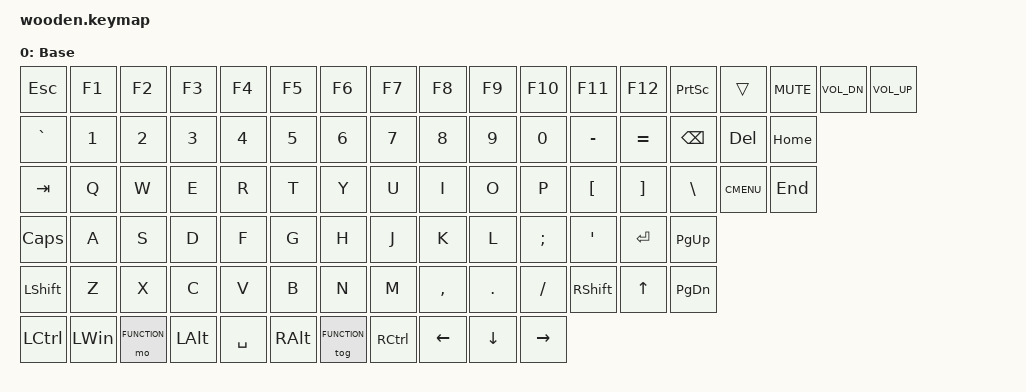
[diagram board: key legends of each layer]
#include <behaviors.dtsi>
#include <dt-bindings/zmk/keys.h>

#define DEFAULT 0
#define FUNCTION 1
#define VOLUME_TIMEOUT 500

/ {
    keymap {
        compatible = "zmk,keymap";

        default_layer {
            display-name = "Base";
            bindings = <
                &kp ESC     &kp F1      &kp F2          &kp F3      &kp F4      &kp F5      &kp F6          &kp F7      &kp F8      &kp F9      &kp F10     &kp F11     &kp F12     &kp PSCRN       &trans      &kp C_MUTE  &kp C_VOL_DN    &kp C_VOL_UP
                &kp GRAVE   &kp N1      &kp N2          &kp N3      &kp N4      &kp N5      &kp N6          &kp N7      &kp N8      &kp N9      &kp N0      &kp MINUS   &kp EQUAL   &kp BSPC        &kp DEL     &kp HOME
                &kp TAB     &kp Q       &kp W           &kp E       &kp R       &kp T       &kp Y           &kp U       &kp I       &kp O       &kp P       &kp LBKT    &kp RBKT    &kp BSLH        &kp K_CMENU &kp END
                &kp CAPS    &kp A       &kp S           &kp D       &kp F       &kp G       &kp H           &kp J       &kp K       &kp L       &kp SEMI    &kp APOS    &kp ENTER   &kp PG_UP
                &kp LSHIFT  &kp Z       &kp X           &kp C       &kp V       &kp B       &kp N           &kp M       &kp COMMA   &kp PERIOD  &kp SLASH   &kp RSHIFT  &kp UP      &kp PG_DN
                &kp LCTRL   &kp LWIN    &mo FUNCTION    &kp LALT    &kp SPACE   &kp RALT    &tog FUNCTION   &kp RCTRL   &kp LEFT    &kp DOWN    &kp RIGHT
            >;
//ADD KEYLK!!
        };

        // function_layer {
        //     bindings = <
        //     >;
        // };
    };

    combos {
        compatible = "zmk,combos";

        combo_volume_up {
            timeout-ms = <500>;          
            key-positions = <17 16>;
            bindings = <&kp C_VOL_UP >;
        };

        combo_volume_down {
            timeout-ms = <VOLUME_TIMEOUT>;          
            key-positions = <16 17>;
            bindings = <&kp C_VOL_DN >;
        };
    };
};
